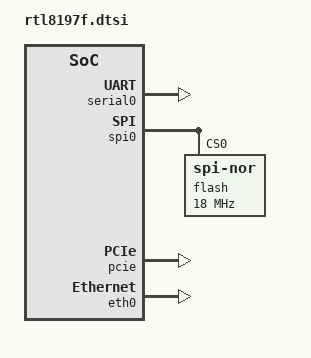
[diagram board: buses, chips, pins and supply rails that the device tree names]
// SPDX-License-Identifier: GPL-2.0-only OR MIT

#include <dt-bindings/interrupt-controller/irq.h>

/ {
	#address-cells = <1>;
	#size-cells = <1>;
	compatible = "realtek,rtl8197f";
	/*
	 * No global interrupt-parent: cpuintc is the root MIPS CPU controller
	 * and must have no parent, otherwise it inherits ictl and of_irq_init
	 * mis-orders (or cycles) the controllers, leaving the CP0 timer IRQ
	 * unmapped. Peripherals name &ictl explicitly.
	 */

	aliases {
		serial0 = &serial0;
		spi0 = &spi0;
	};

	chosen {
		/*
		 * CONFIG_MIPS_CMDLINE_FROM_DTB uses this bootargs verbatim. Bare
		 * "earlycon" activates the stdout-path node's earlycon (the
		 * RTL8197F quirked one), giving clean output from the very first
		 * kernel message; console=ttyS0,38400 hands over to the full
		 * 8250_of port once it registers.
		 */
		bootargs = "earlycon console=ttyS0,38400";
		stdout-path = "serial0:38400n8";
	};

	cpus {
		#address-cells = <1>;
		#size-cells = <0>;

		cpu@0 {
			device_type = "cpu";
			compatible = "mips,mips24Kc";
			reg = <0>;
		};
	};

	clocks {
		uart_clk: uart-clock {
			compatible = "fixed-clock";
			#clock-cells = <0>;
			/*
			 * Measured, not guessed: the loader read the divisor the
			 * bootloader programmed for its clean 38400 console and it
			 * is 162 (0xa2). 162 * 16 * 38400 = 99532800, so the UART
			 * reference is ~99.53 MHz. Using this exact value makes the
			 * kernel's 8250 compute divisor 162 -- identical to the
			 * bootloader -- instead of 163 (from the scaffold's 100 MHz),
			 * which garbled the console.
			 */
			clock-frequency = <99532800>;
		};

		spic_clk: spic-clock {
			compatible = "fixed-clock";
			#clock-cells = <0>;
			clock-frequency = <200000000>;
		};
	};

	cpuintc: interrupt-controller {
		compatible = "mti,cpu-interrupt-controller";
		interrupt-controller;
		#address-cells = <0>;
		#interrupt-cells = <1>;
	};

	ictl: interrupt-controller@18003000 {
		compatible = "realtek,rtl8197f-ictl";
		reg = <0x18003000 0x38>;
		interrupt-controller;
		#interrupt-cells = <1>;
		/*
		 * No cascade parent yet: the CP0 timer is routed to MIPS CPU IP2
		 * (IntCtl IPTI reads 2), so the peripheral controller cannot also
		 * cascade on IP2. Its real CPU IP is still unconfirmed; until then
		 * the ictl registers standalone (peripheral IRQs inactive) so the
		 * timer can claim IP2 and the kernel boots. Console output is via
		 * polled early_printk / 8250 TX and does not need the ictl IRQ.
		 */
	};

	serial0: serial@18147000 {
		/*
		 * 16550A whose RX/TX data register is at 0x24, not 0x00 (the
		 * divisor latch keeps 0x00). Needs the 8250_of quirk; plain
		 * ns16550a writes characters into the divisor latch.
		 */
		compatible = "realtek,rtl8197f-uart";
		reg = <0x18147000 0x100>;
		reg-shift = <2>;
		reg-io-width = <4>;
		clock-frequency = <99532800>;
		/*
		 * No interrupt on purpose: the ictl cascade is not wired up yet
		 * (only the CP0 timer on IP7 works), so the UART IRQ never fires
		 * and the interrupt-driven TTY TX/RX path stalls -- writes to
		 * /dev/ttyS0 are queued but never transmitted (the polled printk
		 * console still works, which masked this). With no "interrupts"
		 * property the 8250 core falls back to timer polling, so the
		 * interactive login console on ttyS0 works. Restore the IRQ once
		 * the ictl peripheral cascade is enabled (also needed for eth).
		 */
		status = "okay";
	};

	spi0: spi@18143000 {
		/*
		 * RTL8197F flash controller: a Synopsys DesignWare SSI
		 * (BSP_SPIC_BASE = 0x18143000). The boot SPI-NOR hangs off this.
		 */
		compatible = "realtek,rtl8197f-sheipa-spi";
		reg = <0x18143000 0x1000>;
		#address-cells = <1>;
		#size-cells = <0>;
		status = "okay";

		flash@0 {
			compatible = "jedec,spi-nor";
			reg = <0>;
			spi-max-frequency = <18000000>;
			/* Board DTS must provide fixed partitions. */
		};
	};

	pcie: pcie@18b00000 {
		/*
		 * Single-lane root port. reg order is what the driver expects:
		 * root-port config, root-port extended block (MDIO/PHY power),
		 * downstream device config, and the system register window it
		 * shares with the ethernet for clocks, PERST# and the ictl.
		 *
		 * All four INTx lines collapse onto one SoC interrupt, which the
		 * BSP routes to CPU IP5 -- like the switch core on IP4, it does
		 * not go through the ictl cascade.
		 */
		compatible = "realtek,rtl8197f-pcie";
		reg = <0x18b00000 0x1000>,
		      <0x18b01000 0x1000>,
		      <0x18b10000 0x1000>,
		      <0x18000000 0x4000>;
		device_type = "pci";
		bus-range = <0x00 0x01>;
		#address-cells = <3>;
		#size-cells = <2>;
		/*
		 * MEM only. The SoC also decodes a 2 MB PCIe IO window at
		 * 0x18c00000, but the PCI core caps IO space at 64 KB, so
		 * advertising it just collides with ioport_resource and fails
		 * the probe. The Wi-Fi endpoint uses MMIO BARs anyway.
		 */
		ranges = <0x02000000 0 0x19000000 0x19000000 0 0x00c00000>;
		#interrupt-cells = <1>;
		interrupt-map-mask = <0 0 0 0>;
		interrupt-map = <0 0 0 0 &cpuintc 5>;
		status = "okay";
	};

	wifi2g: wifi@18640000 {
		/*
		 * Integrated RTL8197F 2.4 GHz 2x2 MAC. CPU IP6 is the BSP's
		 * direct WLAN interrupt. The diagnostic driver deliberately
		 * leaves the clock, reset and RF blocks untouched.
		 */
		compatible = "realtek,rtl8197f-wifi";
		reg = <0x18640000 0x10000>;
		interrupt-parent = <&cpuintc>;
		interrupts = <6>;
		status = "disabled";
	};

	eth0: ethernet@18010000 {
		/*
		 * RTL8197F on-SoC CPU network engine (swNic): a descriptor-ring
		 * DMA engine at CPU_IFACE_BASE 0x18010000 bound to the internal
		 * 5-port switch CPU port.
		 *
		 * The switch core does not need the ictl cascade: the Realtek
		 * BSP routes it (GISR source 15, SW_IP) straight to a CPU IP via
		 * the ictl routing register IRR1 and treats it as a plain CPU
		 * interrupt (BSP_SWCORE_IRQ = BSP_IRQ_CPU_BASE + 4). The driver
		 * programs that routing; this only names the resulting CPU IP.
		 */
		compatible = "realtek,rtl8197f-eth";
		reg = <0x18010000 0x200>;
		interrupt-parent = <&cpuintc>;
		interrupts = <4>;
		status = "okay";
	};
};
